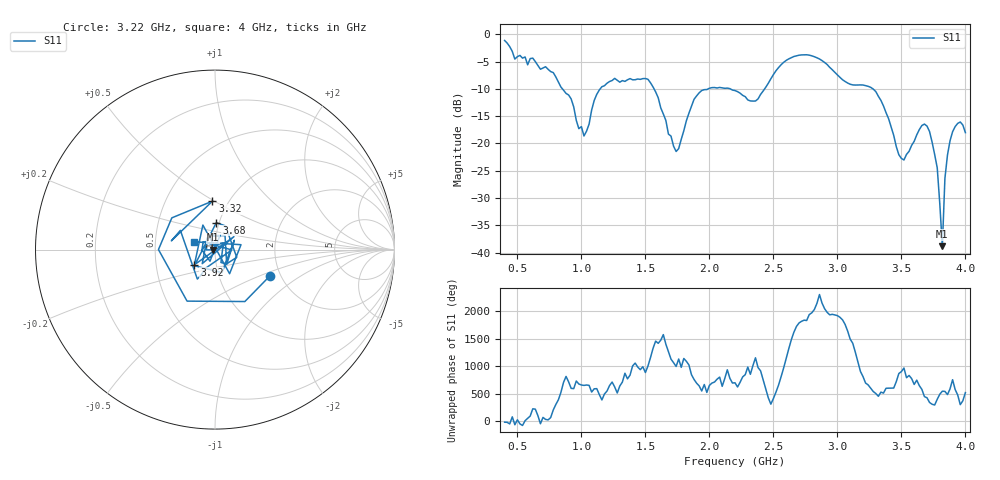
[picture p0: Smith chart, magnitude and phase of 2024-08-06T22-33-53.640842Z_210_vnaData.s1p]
!Created with skrf (http://scikit-rf.org).
# Hz S RI R 50.0
!freq ReS11 ImS11
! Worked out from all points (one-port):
!   181 points, 400 MHz to 4 GHz, reference 50 ohm
!   lowest |S11| = -38.8 dB at 3.82 GHz (marker M1), VSWR 1.02, Z = 48.9 - j0.108 ohm
!   |S11| at or under -10 dB: 851.7 MHz to 1.147 GHz (295.2 MHz wide, 29.5 % of centre); 1.568 GHz to 1.991 GHz (423.2 MHz wide, 23.8 % of centre); 3.278 GHz to end of sweep (the widest 3 of 4)
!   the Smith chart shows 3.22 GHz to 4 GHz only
!   S11 on the Smith chart (normalised r, x): 3.22 GHz: 1.75, -0.59; 3.32 GHz: 0.84, +0.49; 3.68 GHz: 0.97, +0.30; 3.92 GHz: 0.78, -0.14; 4 GHz: 0.79, +0.07
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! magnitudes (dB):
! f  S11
! 400 MHz  -1.1
! 480 MHz  -4.5
! 620 MHz  -4.4
! 860 MHz  -10.2
! 1.02 GHz  -18.6
! 1.14 GHz  -10.2
! 1.3 GHz  -8.8
! 1.52 GHz  -8.3
! 1.72 GHz  -20.5
! 1.76 GHz  -20.9
! 1.92 GHz  -10.7
! 2.2 GHz  -10.3
! 2.36 GHz  -12.2
! 2.66 GHz  -4.1
! 2.86 GHz  -4.5
! 3.1 GHz  -9.2
! 3.22 GHz  -9.4
! 3.32 GHz  -11.4
! 3.48 GHz  -22.1
! 3.56 GHz  -21.4
! 3.68 GHz  -16.5
! 3.72 GHz  -17.8
! 3.78 GHz  -24.5
! 3.82 GHz  -38.8
! 3.84 GHz  -26.4
! 3.88 GHz  -19.5
! 3.92 GHz  -16.9
! 4 GHz  -18.0
